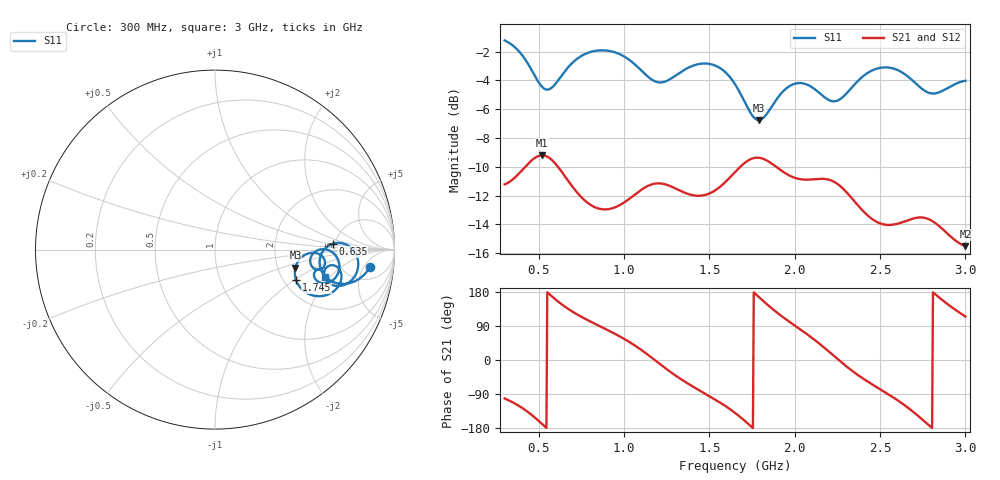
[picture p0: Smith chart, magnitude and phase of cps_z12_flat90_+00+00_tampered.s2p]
! cps_z12_flat90_+00+00_tampered
! simulated by sim/fixtures_fdtd.py (S12 = S21, S22 not computed)
# HZ S RI R 50
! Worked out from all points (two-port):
!   541 points, 300 MHz to 3 GHz, reference 50 ohm
!   highest |S21| = -9.21 dB at 520 MHz (marker M1); lowest = -15.5 dB at 3 GHz (marker M2)
!   |S21| within 3 dB of the highest: start of sweep to 757.4 MHz; 1.033 GHz to 2.336 GHz (1.303 GHz wide, 77.3 % of centre)
!   lowest |S11| = -6.8 dB at 1.79 GHz (marker M3), VSWR 2.70, Z = 125 - j32 ohm
!   |S11| at or under -10 dB: nowhere
!   |S22| runs from - to - dB; largest |S21 - S12| = 0
!   S11 on the Smith chart (normalised r, x): 300 MHz: 9, -7; 635 MHz: 4.76, +0.54; 1.745 GHz: 2.33, -1.03; 3 GHz: 3.44, -1.75
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3e8  0.8635 -0.0967  -0.0549 -0.2691  -0.0549 -0.2691  0 0
4.25e8  0.7147 -0.1914  -0.2185 -0.2312  -0.2185 -0.2312  0 0
5.2e8  0.5894 -0.1081  -0.34 -0.0662  -0.34 -0.0662  0 0
6.35e8  0.656 0.0324  -0.2539 0.1663  -0.2539 0.1663  0 0
7.5e8  0.7677 0.00095  -0.1005 0.2264  -0.1005 0.2264  0 0
8.85e8  0.7954 -0.1072  0.0267 0.2232  0.0267 0.2232  0 0
1.025e9  0.7219 -0.1962  0.159 0.1841  0.159 0.1841  0 0
1.2e9  0.6072 -0.1335  0.2747 -0.0344  0.2747 -0.0344  0 0
1.4e9  0.6985 -0.1199  0.0894 -0.2356  0.0894 -0.2356  0 0
1.525e9  0.6819 -0.2116  -0.054 -0.2541  -0.054 -0.2541  0 0
1.65e9  0.5555 -0.2577  -0.2303 -0.1967  -0.2303 -0.1967  0 0
1.745e9  0.4517 -0.1699  -0.3356 -0.0264  -0.3356 -0.0264  0 0
1.79e9  0.4482 -0.1007  -0.3297 0.0822  -0.3297 0.0822  0 0
1.925e9  0.5721 -0.0221  -0.13 0.2767  -0.13 0.2767  0 0
2.1e9  0.5878 -0.1105  0.1484 0.2442  0.1484 0.2442  0 0
2.26e9  0.5395 -0.0314  0.2729 -0.00431  0.2729 -0.00431  0 0
2.38e9  0.6366 -0.00494  0.1679 -0.1552  0.1679 -0.1552  0 0
2.55e9  0.6883 -0.125  -0.00293 -0.1984  -0.00293 -0.1984  0 0
2.67e9  0.6184 -0.1872  -0.1279 -0.1625  -0.1279 -0.1625  0 0
2.78e9  0.553 -0.1511  -0.2051 -0.0374  -0.2051 -0.0374  0 0
2.885e9  0.5782 -0.1113  -0.1641 0.0906  -0.1641 0.0906  0 0
3e9  0.6102 -0.1538  -0.0695 0.1523  -0.0695 0.1523  0 0
